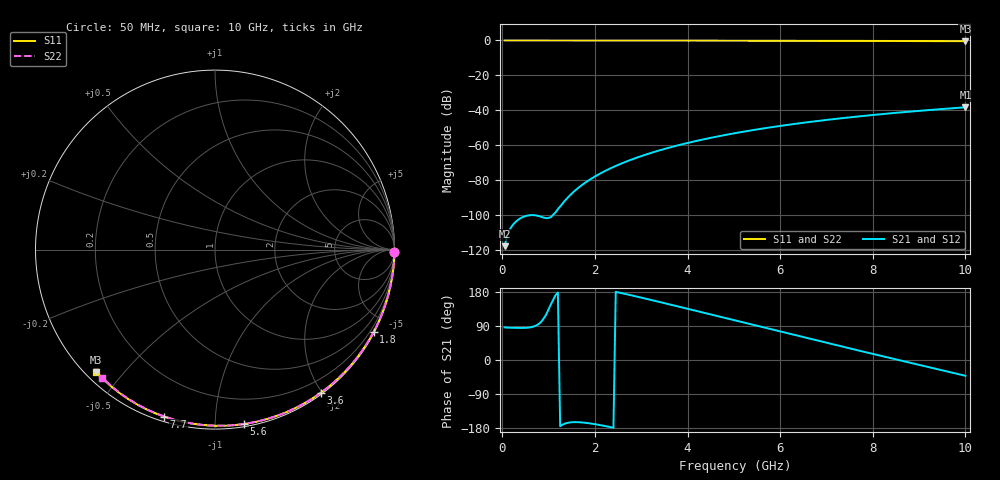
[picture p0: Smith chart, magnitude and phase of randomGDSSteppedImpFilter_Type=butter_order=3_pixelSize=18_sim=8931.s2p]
! freq	dB(S11)	phase(S11)	dB(S12)	phase(S12)
!  dB(S21)	phase(S21)	dB(S22)	phase(S22)
!S-par simulation data
#  GHz  S  DB  R 50
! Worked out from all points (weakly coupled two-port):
!   200 points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, 50 MHz to 10 GHz, reference 50 ohm
!   highest |S21| = -38.29 dB at 10 GHz (marker M1); lowest = -117.8 dB at 50 MHz (marker M2)
!   lowest |S11| = -0.4 dB at 10 GHz (marker M3), VSWR 38.96, Z = 1.51 - j21.1 ohm
!   |S11| at or under -10 dB: nowhere
!   |S22| runs from -0.4 to 0.0 dB; largest |S21 - S12| = 0
!   S11 on the Smith chart (normalised r, x): 50 MHz: open; 1.8 GHz: 0.04, -4.10; 3.6 GHz: 0.02, -1.98; 5.6 GHz: 0.02, -1.18; 7.7 GHz: 0.02, -0.74; 10 GHz: 0.03, -0.42
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0.05  -0.00 -0.8  -117.82 86.1  -117.82 86.1  -0.00 -0.8
0.45  -0.01 -6.9  -101.07 84.6  -101.07 84.6  -0.01 -6.8
0.9  -0.02 -13.8  -101.51 110.7  -101.51 110.7  -0.02 -13.6
1.75  -0.03 -26.7  -82.22 -165.1  -82.22 -165.1  -0.03 -26.2
1.8  -0.03 -27.4  -81.28 -165.8  -81.28 -165.8  -0.03 -26.9
1.85  -0.04 -28.1  -80.39 -166.6  -80.39 -166.6  -0.04 -27.6
1.9  -0.04 -28.9  -79.53 -167.4  -79.53 -167.4  -0.04 -28.4
2.05  -0.04 -31.1  -77.15 -170.4  -77.15 -170.4  -0.04 -30.6
2.25  -0.04 -34.1  -74.34 -175.0  -74.34 -175.0  -0.04 -33.5
2.65  -0.05 -39.9  -69.64 174.5  -69.64 174.5  -0.05 -39.2
3  -0.06 -45.0  -66.23 164.7  -66.23 164.7  -0.06 -44.2
3.4  -0.07 -50.7  -62.90 153.0  -62.90 153.0  -0.07 -49.8
3.6  -0.07 -53.6  -61.41 147.1  -61.41 147.1  -0.07 -52.6
4.3  -0.09 -63.3  -56.90 126.2  -56.90 126.2  -0.09 -62.2
5.05  -0.11 -73.4  -52.98 103.6  -52.98 103.6  -0.11 -72.1
5.6  -0.13 -80.7  -50.54 87.1  -50.54 87.1  -0.13 -79.2
6.15  -0.15 -87.7  -48.39 70.6  -48.39 70.6  -0.15 -86.2
6.7  -0.18 -94.7  -46.47 54.3  -46.47 54.3  -0.18 -93.0
7.7  -0.24 -106.9  -43.48 24.8  -43.48 24.8  -0.24 -105.0
8.35  -0.29 -114.7  -41.81 5.9  -41.81 5.9  -0.29 -112.5
9.15  -0.36 -124.2  -39.99 -17.2  -39.99 -17.2  -0.36 -121.7
10  -0.45 -134.1  -38.29 -41.6  -38.29 -41.6  -0.44 -131.3
